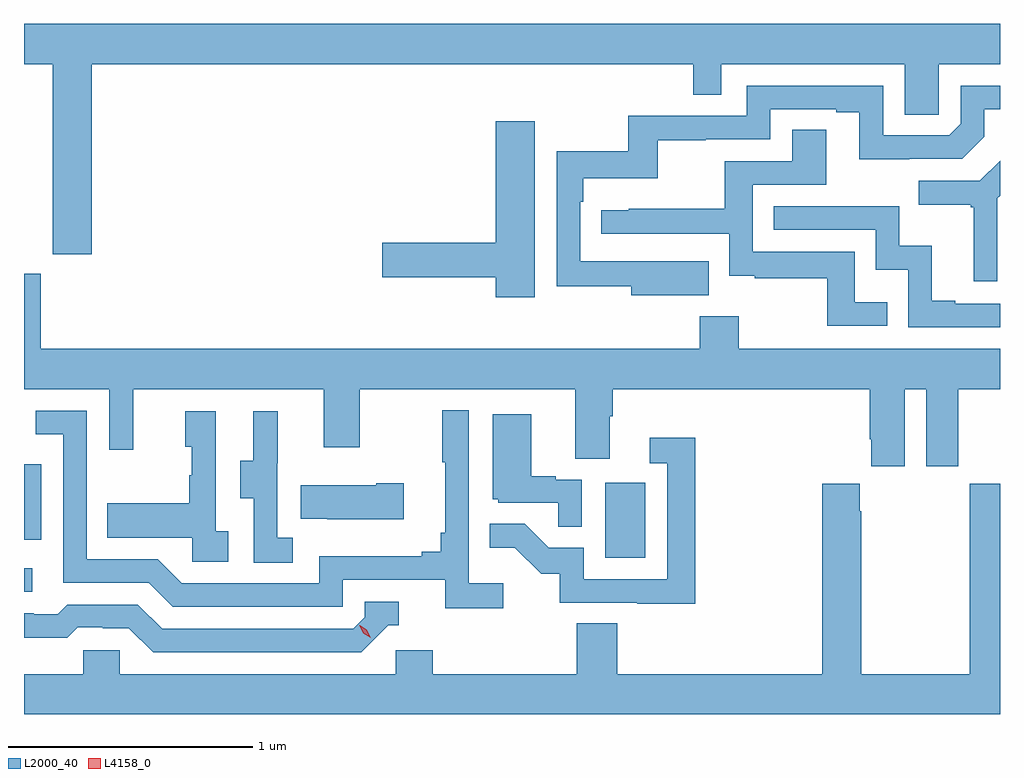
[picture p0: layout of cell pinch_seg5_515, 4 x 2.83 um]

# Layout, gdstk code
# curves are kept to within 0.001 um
import gdstk
lib = gdstk.Library(unit=1e-6, precision=1e-09)
def R(c, l, rs):  # rectangles x0, y0, x1, y1
    for r in rs: c.add(gdstk.rectangle(r[:2], r[2:], *l))
def P(c, l, *ps):  # polygons
    for p in ps: c.add(gdstk.Polygon(p, *l))
L2000_40 = (2000, 40)
L4158_0 = (4158, 0)

pinch_seg5_515 = lib.new_cell('pinch_seg5_515')
R(pinch_seg5_515, L2000_40, [(887.809,834.618,887.842,834.714), (890.192,834.756,890.356,835.063), (887.809,834.831,887.88,835.14)])
P(pinch_seg5_515, L2000_40, [(888.086,836.78),(890.551,836.78),(890.551,836.653),(890.667,836.653),(890.667,836.78),(891.419,836.78),(891.419,836.572),(891.558,836.572),(891.558,836.78),(891.809,836.78),(891.809,836.944),(887.809,836.944),(887.809,836.78),(887.926,836.78),(887.926,836.001),(888.086,836.001)],
  [(890.615,835.972),(890.088,835.971),(890.088,836.216),(890.102,836.216),(890.102,836.312),(890.407,836.312),(890.407,836.467),(890.603,836.467),(890.603,836.472),(890.868,836.472),(890.868,836.595),(891.137,836.595),(891.137,836.583),(891.233,836.583),(891.233,836.39),(891.654,836.391),(891.744,836.481),(891.744,836.595),(891.809,836.595),(891.809,836.691),(891.648,836.691),(891.648,836.535),(891.6,836.487),(891.33,836.487),(891.33,836.691),(890.772,836.691),(890.772,836.568),(890.286,836.568),(890.286,836.422),(889.992,836.422),(889.992,835.87),(890.297,835.87),(890.297,835.832),(890.615,835.832)],
  [(889.903,836.545),(889.742,836.545),(889.742,836.048),(889.278,836.048),(889.278,835.906),(889.742,835.906),(889.742,835.824),(889.903,835.824)],
  [(891.347,835.804),(891.213,835.804),(891.213,836.01),(890.796,836.01),(890.796,836.286),(891.097,836.286),(891.097,836.51),(890.957,836.51),(890.957,836.382),(890.68,836.382),(890.68,836.186),(890.287,836.186),(890.287,836.181),(890.175,836.181),(890.175,836.085),(890.7,836.085),(890.7,835.913),(890.803,835.913),(890.803,835.902),(891.102,835.902),(891.102,835.707),(891.347,835.707)],
  [(891.798,836.229),(891.809,836.24),(891.809,836.384),(891.726,836.301),(891.477,836.301),(891.477,836.204),(891.69,836.204),(891.69,836.193),(891.701,836.193),(891.701,835.89),(891.798,835.89)],
  [(891.809,835.797),(891.625,835.797),(891.625,835.81),(891.529,835.81),(891.529,836.035),(891.396,836.035),(891.396,836.196),(890.881,836.196),(890.881,836.1),(891.3,836.1),(891.3,835.937),(891.432,835.937),(891.432,835.701),(891.809,835.701)],
  [(890.739,835.747),(890.579,835.747),(890.579,835.612),(887.878,835.612),(887.878,835.921),(887.809,835.921),(887.809,835.448),(888.159,835.448),(888.159,835.2),(888.257,835.2),(888.257,835.448),(889.037,835.448),(889.037,835.209),(889.185,835.209),(889.185,835.448),(890.069,835.448),(890.069,835.162),(890.209,835.162),(890.209,835.336),(890.222,835.336),(890.222,835.448),(891.275,835.448),(891.275,835.243),(891.281,835.243),(891.281,835.131),(891.418,835.131),(891.418,835.448),(891.506,835.448),(891.506,835.131),(891.637,835.131),(891.637,835.448),(891.809,835.448),(891.809,835.612),(890.739,835.612)],
  [(889.774,834.652),(889.632,834.652),(889.632,835.36),(889.524,835.36),(889.524,835.147),(889.535,835.147),(889.535,834.859),(889.516,834.859),(889.516,834.782),(889.439,834.782),(889.439,834.763),(889.02,834.763),(889.02,834.651),(888.456,834.651),(888.357,834.75),(888.066,834.75),(888.066,835.359),(887.857,835.359),(887.857,835.263),(887.97,835.263),(887.97,834.654),(888.32,834.654),(888.419,834.555),(889.116,834.555),(889.116,834.666),(889.535,834.666),(889.535,834.55),(889.774,834.55)],
  [(888.91,834.839),(888.846,834.839),(888.846,835.143),(888.848,835.143),(888.848,835.357),(888.749,835.357),(888.749,835.155),(888.695,835.155),(888.695,835),(888.75,835),(888.75,834.736),(888.91,834.736)],
  [(888.646,834.866),(888.594,834.866),(888.594,835.357),(888.47,835.357),(888.47,835.212),(888.496,835.212),(888.496,835.094),(888.486,835.094),(888.486,834.979),(888.151,834.979),(888.151,834.839),(888.498,834.839),(888.498,834.741),(888.646,834.741)],
  [(890.094,835.077),(889.988,835.077),(889.988,835.09),(889.888,835.09),(889.888,835.345),(889.73,835.345),(889.73,834.996),(889.752,834.996),(889.752,834.981),(889.999,834.981),(889.999,834.883),(890.094,834.883)],
  [(890.561,835.249),(890.373,835.249),(890.373,835.143),(890.445,835.143),(890.445,834.669),(890.103,834.669),(890.103,834.798),(889.959,834.798),(889.861,834.896),(889.717,834.896),(889.717,834.797),(889.821,834.797),(889.928,834.69),(890.005,834.69),(890.005,834.573),(890.323,834.573),(890.323,834.568),(890.561,834.568)],
  [(889.366,835.062),(889.253,835.062),(889.253,835.054),(888.943,835.054),(888.943,834.917),(889.051,834.917),(889.051,834.914),(889.366,834.914)],
  [(891.809,835.06),(891.685,835.06),(891.685,834.28),(891.24,834.28),(891.24,834.947),(891.235,834.947),(891.235,835.06),(891.08,835.06),(891.08,834.28),(890.24,834.28),(890.24,834.488),(890.075,834.488),(890.075,834.28),(889.484,834.28),(889.484,834.378),(889.332,834.378),(889.332,834.28),(888.201,834.28),(888.201,834.378),(888.051,834.378),(888.051,834.28),(887.809,834.28),(887.809,834.116),(891.809,834.116)],
  [(889.302,834.48),(889.345,834.48),(889.345,834.576),(889.206,834.576),(889.206,834.513),(889.158,834.465),(888.375,834.465),(888.276,834.564),(887.987,834.564),(887.948,834.525),(887.849,834.525),(887.849,834.528),(887.809,834.528),(887.809,834.429),(887.987,834.429),(888.029,834.471),(888.132,834.471),(888.132,834.468),(888.239,834.468),(888.338,834.369),(889.191,834.369)])
P(pinch_seg5_515, L4158_0, [(889.23,834.428),(889.2,834.447),(889.183,834.48),(889.183,834.48),(889.184,834.48),(889.214,834.461),(889.231,834.428),(889.231,834.428)])

lib.write_gds('pinch_seg5_515.gds')
